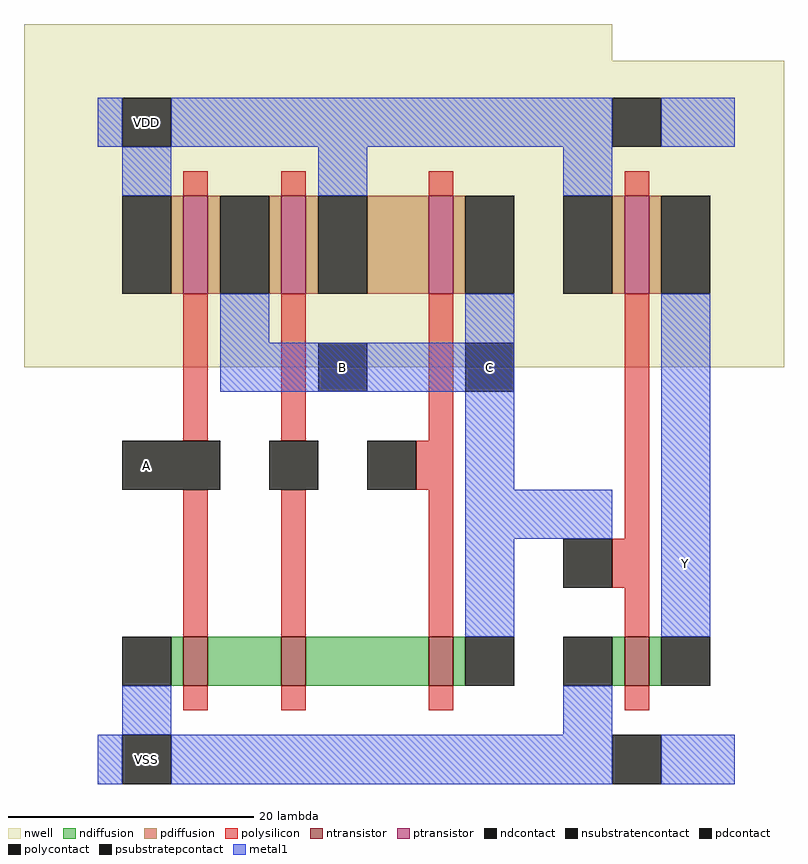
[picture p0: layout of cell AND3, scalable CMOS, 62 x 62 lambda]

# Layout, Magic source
magic
tech scmos
<< nwell >>
rect 8 52 12 56
<< psubstratepcontact >>
rect 8 0 12 4
<< nsubstratencontact >>
rect 8 52 12 56
<< polycontact >>
rect 24 32 28 36
rect 36 32 40 36
rect 8 24 12 28
<< metal1 >>
rect 36 20 48 24
rect 52 16 56 20
use INV  INV_0
transform 1 0 42 0 1 0
box -4 0 20 59
use NAND3  NAND3_0
transform 1 0 6 0 1 0
box -6 0 42 62
<< labels >>
rlabel nsubstratencontact 10 54 10 54 1 VDD
rlabel polycontact 10 26 10 26 1 A
rlabel polycontact 26 34 26 34 1 B
rlabel polycontact 38 34 38 34 1 C
rlabel psubstratepcontact 10 2 10 2 1 VSS
rlabel metal1 54 18 54 18 1 Y
<< end >>

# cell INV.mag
magic
tech scmos
<< nwell >>
rect -4 34 20 59
<< ntransistor >>
rect 7 8 9 12
<< ptransistor >>
rect 7 40 9 48
<< ndiffusion >>
rect 6 8 7 12
rect 9 8 10 12
<< pdiffusion >>
rect 6 40 7 48
rect 9 40 10 48
<< ndcontact >>
rect 2 8 6 12
rect 10 8 14 12
<< pdcontact >>
rect 2 40 6 48
rect 10 40 14 48
<< psubstratepcontact >>
rect 6 0 10 4
<< nsubstratencontact >>
rect 6 52 10 56
<< polysilicon >>
rect 7 48 9 50
rect 7 20 9 40
rect 6 16 9 20
rect 7 12 9 16
rect 7 6 9 8
<< polycontact >>
rect 2 16 6 20
<< metal1 >>
rect 0 52 6 56
rect 10 52 16 56
rect 2 48 6 52
rect 10 12 14 40
rect 2 4 6 8
rect 0 0 6 4
rect 10 0 16 4
<< labels >>
rlabel metal1 4 2 4 2 1 VSS
rlabel polycontact 4 18 4 18 1 A
rlabel metal1 12 18 12 18 1 Y
rlabel metal1 4 54 4 54 1 VDD
<< end >>

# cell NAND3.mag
magic
tech scmos
<< nwell >>
rect -6 34 42 62
<< ntransistor >>
rect 7 8 9 12
rect 15 8 17 12
rect 27 8 29 12
<< ptransistor >>
rect 7 40 9 48
rect 15 40 17 48
rect 27 40 29 48
<< ndiffusion >>
rect 6 8 7 12
rect 9 8 15 12
rect 17 8 27 12
rect 29 8 30 12
<< pdiffusion >>
rect 6 40 7 48
rect 9 40 10 48
rect 14 40 15 48
rect 17 40 18 48
rect 22 40 27 48
rect 29 40 30 48
<< ndcontact >>
rect 2 8 6 12
rect 30 8 34 12
<< pdcontact >>
rect 2 40 6 48
rect 10 40 14 48
rect 18 40 22 48
rect 30 40 34 48
<< psubstratepcontact >>
rect 2 0 6 4
<< nsubstratencontact >>
rect 2 52 6 56
<< polysilicon >>
rect 7 48 9 50
rect 15 48 17 50
rect 27 48 29 50
rect 7 28 9 40
rect 15 28 17 40
rect 27 28 29 40
rect 26 24 29 28
rect 7 12 9 24
rect 15 12 17 24
rect 27 12 29 24
rect 7 6 9 8
rect 15 6 17 8
rect 27 6 29 8
<< polycontact >>
rect 6 24 10 28
rect 14 24 18 28
rect 22 24 26 28
<< metal1 >>
rect 0 52 2 56
rect 6 52 36 56
rect 2 48 6 52
rect 18 48 22 52
rect 10 36 14 40
rect 30 36 34 40
rect 10 32 34 36
rect 30 12 34 32
rect 2 4 6 8
rect 0 0 2 4
rect 6 0 36 4
<< labels >>
rlabel psubstratepcontact 4 2 4 2 1 VSS
rlabel nsubstratencontact 4 54 4 54 1 VDD
rlabel polycontact 24 26 24 26 1 C
rlabel metal1 32 26 32 26 1 Y
rlabel polycontact 8 26 8 26 1 A
rlabel polycontact 16 26 16 26 1 B
<< end >>
